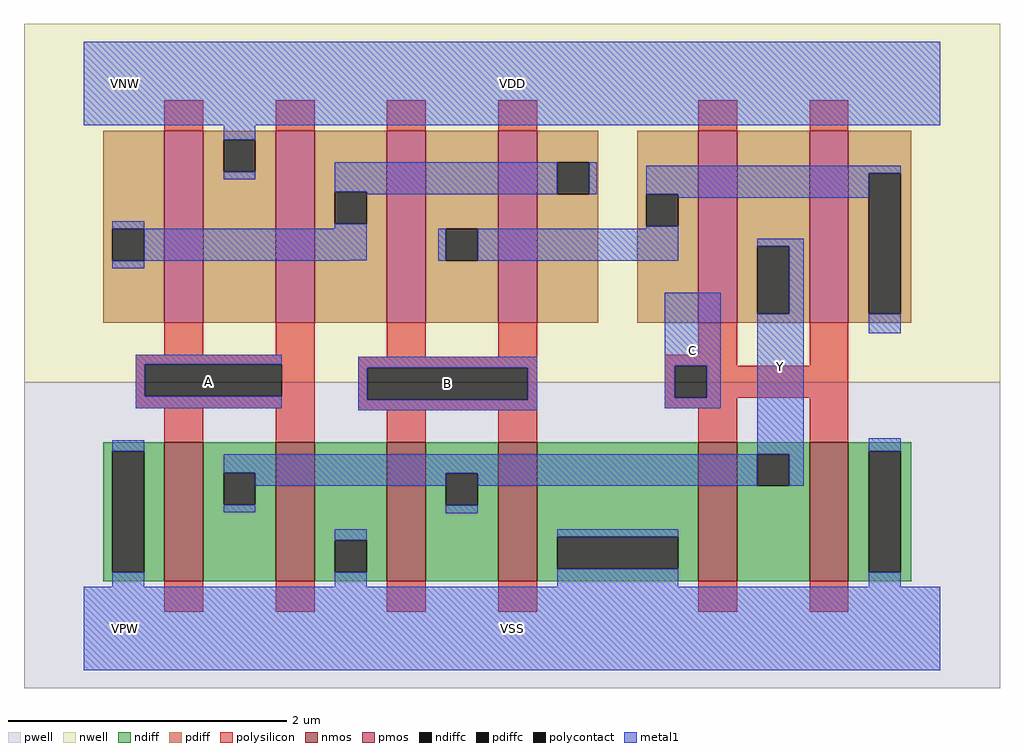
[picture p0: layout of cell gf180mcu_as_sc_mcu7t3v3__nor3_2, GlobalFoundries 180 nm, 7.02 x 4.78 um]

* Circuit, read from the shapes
.subckt gf180mcu_as_sc_mcu7t3v3__nor3_2 VDD VNW VPW VSS A B C Y
XM1 Y A VSS VPW nfet_03v3 w=1u l=0.28u m=2
XM2 Y B VSS VPW nfet_03v3 w=1u l=0.28u m=2
XM3 Y C VSS VPW nfet_03v3 w=1u l=0.28u m=2
XM4 VDD A n1 VNW pfet_03v3 w=1.38u l=0.28u m=2
XM5 n2 B n1 VNW pfet_03v3 w=1.38u l=0.28u m=2
XM6 Y C n2 VNW pfet_03v3 w=1.38u l=0.28u m=2
.ends

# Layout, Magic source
magic
tech gf180mcuD
magscale 1 10
<< nwell >>
rect -86 354 1318 870
<< pwell >>
rect -86 -86 1318 354
<< nmos >>
rect 116 68 172 268
rect 276 68 332 268
rect 436 68 492 268
rect 596 68 652 268
rect 884 68 940 268
rect 1044 68 1100 268
<< pmos >>
rect 116 440 172 716
rect 276 440 332 716
rect 436 440 492 716
rect 596 440 652 716
rect 884 440 940 716
rect 1044 440 1100 716
<< ndiff >>
rect 28 255 116 268
rect 28 81 41 255
rect 87 81 116 255
rect 28 68 116 81
rect 172 224 276 268
rect 172 178 201 224
rect 247 178 276 224
rect 172 68 276 178
rect 332 127 436 268
rect 332 81 361 127
rect 407 81 436 127
rect 332 68 436 81
rect 492 223 596 268
rect 492 177 521 223
rect 567 177 596 223
rect 492 68 596 177
rect 652 132 884 268
rect 652 86 681 132
rect 855 86 884 132
rect 652 68 884 86
rect 940 251 1044 268
rect 940 205 969 251
rect 1015 205 1044 251
rect 940 68 1044 205
rect 1100 255 1190 268
rect 1100 81 1129 255
rect 1175 81 1190 255
rect 1100 68 1190 81
<< pdiff >>
rect 28 575 116 716
rect 28 529 41 575
rect 87 529 116 575
rect 28 440 116 529
rect 172 703 276 716
rect 172 657 201 703
rect 247 657 276 703
rect 172 440 276 657
rect 332 628 436 716
rect 332 582 361 628
rect 407 582 436 628
rect 332 440 436 582
rect 492 575 596 716
rect 492 529 521 575
rect 567 529 596 575
rect 492 440 596 529
rect 652 671 740 716
rect 652 625 681 671
rect 727 625 740 671
rect 652 440 740 625
rect 796 625 884 716
rect 796 579 809 625
rect 855 579 884 625
rect 796 440 884 579
rect 940 550 1044 716
rect 940 453 969 550
rect 1015 453 1044 550
rect 940 440 1044 453
rect 1100 655 1190 716
rect 1100 453 1129 655
rect 1175 453 1190 655
rect 1100 440 1190 453
<< ndiffc >>
rect 41 81 87 255
rect 201 178 247 224
rect 361 81 407 127
rect 521 177 567 223
rect 681 86 855 132
rect 969 205 1015 251
rect 1129 81 1175 255
<< pdiffc >>
rect 41 529 87 575
rect 201 657 247 703
rect 361 582 407 628
rect 521 529 567 575
rect 681 625 727 671
rect 809 579 855 625
rect 969 453 1015 550
rect 1129 453 1175 655
<< polysilicon >>
rect 116 716 172 760
rect 276 716 332 760
rect 436 716 492 760
rect 596 716 652 760
rect 884 716 940 760
rect 1044 716 1100 760
rect 116 394 172 440
rect 276 394 332 440
rect 75 380 332 394
rect 436 391 492 440
rect 596 391 652 440
rect 884 394 940 440
rect 75 334 88 380
rect 285 334 332 380
rect 75 317 332 334
rect 116 268 172 317
rect 276 268 332 317
rect 395 375 652 391
rect 395 329 408 375
rect 639 329 652 375
rect 395 314 652 329
rect 836 378 940 394
rect 1044 378 1100 440
rect 836 332 850 378
rect 896 332 1100 378
rect 836 317 940 332
rect 436 268 492 314
rect 596 268 652 314
rect 884 268 940 317
rect 1044 268 1100 332
rect 116 24 172 68
rect 276 24 332 68
rect 436 24 492 68
rect 596 24 652 68
rect 884 24 940 68
rect 1044 24 1100 68
<< polycontact >>
rect 88 334 285 380
rect 408 329 639 375
rect 850 332 896 378
<< metal1 >>
rect 0 724 1232 844
rect 201 703 247 724
rect 201 646 247 657
rect 361 628 681 671
rect 41 575 87 586
rect 407 625 681 628
rect 727 625 738 671
rect 809 655 1175 666
rect 809 625 1129 655
rect 361 575 407 582
rect 855 620 1129 625
rect 809 575 855 579
rect 87 530 407 575
rect 87 529 382 530
rect 510 529 521 575
rect 567 529 855 575
rect 969 550 1036 561
rect 41 518 87 529
rect 75 380 285 394
rect 75 334 88 380
rect 75 317 285 334
rect 395 375 652 391
rect 395 329 408 375
rect 639 329 652 375
rect 395 314 652 329
rect 836 378 916 483
rect 836 332 850 378
rect 896 332 916 378
rect 836 317 916 332
rect 1015 453 1036 550
rect 41 255 87 271
rect 969 251 1036 453
rect 1129 425 1175 453
rect 201 224 969 251
rect 247 223 969 224
rect 247 205 521 223
rect 201 167 247 178
rect 567 205 969 223
rect 1015 205 1036 251
rect 1129 255 1175 274
rect 521 166 567 177
rect 41 60 87 81
rect 361 127 407 143
rect 361 60 407 81
rect 681 132 855 143
rect 681 60 855 86
rect 1129 60 1175 81
rect 0 -60 1232 60
<< labels >>
flabel metal1 s 0 724 1232 844 0 FreeSans 400 0 0 0 VDD
port 1 nsew power bidirectional abutment
flabel metal1 s 0 -60 1232 60 0 FreeSans 400 0 0 0 VSS
port 4 nsew ground bidirectional abutment
flabel nwell s 10 734 110 834 0 FreeSans 400 0 0 0 VNW
port 2 nsew power bidirectional
flabel pwell s 10 -50 110 50 0 FreeSans 400 0 0 0 VPW
port 3 nsew ground bidirectional
flabel metal1 75 317 285 394 0 FreeSans 200 0 0 0 A
port 5 nsew signal input
flabel metal1 395 314 652 391 0 FreeSans 200 0 0 0 B
port 6 nsew signal input
flabel metal1 836 317 916 483 0 FreeSans 200 0 0 0 C
port 7 nsew signal input
flabel metal1 969 205 1036 550 0 FreeSans 200 0 0 0 Y
port 8 nsew signal output
<< properties >>
string FIXED_BBOX 0 0 1232 784
string LEFclass CORE
string LEFsite unithd
string LEFsymmetry X Y
string MASKHINTS_NPLUS -16 -46 1248 354
string MASKHINTS_PPLUS -16 354 1248 830
<< end >>
